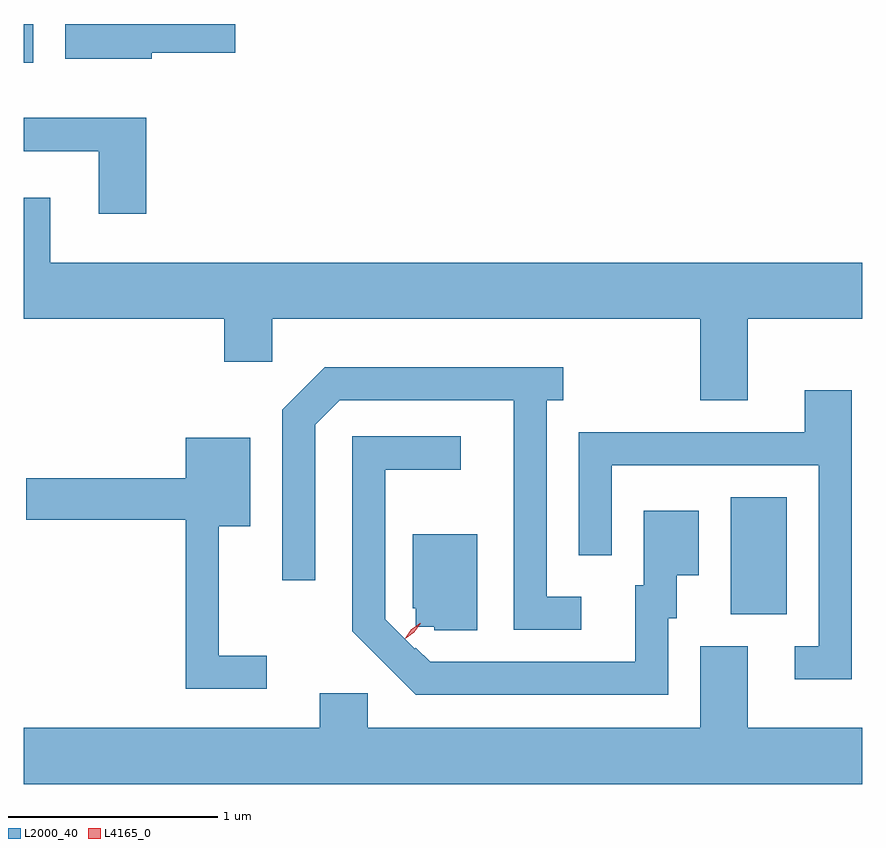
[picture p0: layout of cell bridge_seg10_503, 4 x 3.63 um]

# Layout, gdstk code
import gdstk
lib = gdstk.Library(unit=1e-6, precision=1e-09)
def R(c, l, rs):  # rectangles x0, y0, x1, y1
    for r in rs: c.add(gdstk.rectangle(r[:2], r[2:], *l))
def P(c, l, *ps):  # polygons
    for p in ps: c.add(gdstk.Polygon(p, *l))
L2000_40 = (2000, 40)
L4165_0 = (4165, 0)

bridge_seg10_503 = lib.new_cell('bridge_seg10_503')
R(bridge_seg10_503, L2000_40, [(828.756,2161.346,829.024,2161.904), (825.384,2163.976,825.429,2164.162)])
P(bridge_seg10_503, L2000_40, [(825.994,2164.026),(826.394,2164.026),(826.394,2164.162),(825.581,2164.162),(825.581,2163.996),(825.994,2163.996)],
  [(825.969,2163.714),(825.384,2163.714),(825.384,2163.556),(825.741,2163.556),(825.741,2163.256),(825.969,2163.256)],
  [(828.839,2162.756),(829.384,2162.756),(829.384,2163.024),(825.509,2163.024),(825.509,2163.334),(825.384,2163.334),(825.384,2162.756),(826.341,2162.756),(826.341,2162.551),(826.569,2162.551),(826.569,2162.756),(828.611,2162.756),(828.611,2162.366),(828.839,2162.366)],
  [(828.043,2161.429),(827.879,2161.429),(827.879,2162.366),(827.958,2162.366),(827.958,2162.524),(826.819,2162.524),(826.616,2162.322),(826.616,2161.508),(826.774,2161.508),(826.774,2162.249),(826.892,2162.366),(827.721,2162.366),(827.721,2161.271),(828.043,2161.271)],
  [(829.334,2162.414),(829.111,2162.414),(829.111,2162.214),(828.031,2162.214),(828.031,2161.628),(828.189,2161.628),(828.189,2162.056),(829.176,2162.056),(829.176,2161.194),(829.063,2161.194),(829.063,2161.036),(829.334,2161.036)],
  [(828.459,2161.326),(828.499,2161.326),(828.499,2161.531),(828.604,2161.531),(828.604,2161.839),(828.341,2161.839),(828.341,2161.484),(828.301,2161.484),(828.301,2161.119),(827.322,2161.119),(827.255,2161.186),(827.25,2161.182),(827.109,2161.323),(827.109,2162.036),(827.468,2162.036),(827.468,2162.194),(826.951,2162.194),(826.951,2161.264),(827.254,2160.961),(828.459,2160.961)],
  [(826.543,2161.149),(826.314,2161.149),(826.314,2161.766),(826.464,2161.766),(826.464,2162.189),(826.156,2162.189),(826.156,2161.994),(825.396,2161.994),(825.396,2161.796),(826.156,2161.796),(826.156,2160.991),(826.543,2160.991)],
  [(827.547,2161.728),(827.239,2161.728),(827.239,2161.499),(827.24,2161.499),(827.24,2161.374),(827.253,2161.374),(827.253,2161.287),(827.343,2161.287),(827.343,2161.27),(827.547,2161.27)],
  [(829.384,2160.804),(828.839,2160.804),(828.839,2161.194),(828.611,2161.194),(828.611,2160.804),(827.024,2160.804),(827.024,2160.969),(826.796,2160.969),(826.796,2160.804),(825.384,2160.804),(825.384,2160.536),(829.384,2160.536)])
P(bridge_seg10_503, L4165_0, [(827.204,2161.23),(827.204,2161.231),(827.233,2161.274),(827.276,2161.303),(827.277,2161.303),(827.277,2161.303),(827.248,2161.26),(827.205,2161.23)],
  [(827.206,2161.231),(827.206,2161.232),(827.234,2161.274),(827.274,2161.302),(827.275,2161.302),(827.275,2161.301),(827.248,2161.26),(827.207,2161.231)])

lib.write_gds('bridge_seg10_503.gds')
